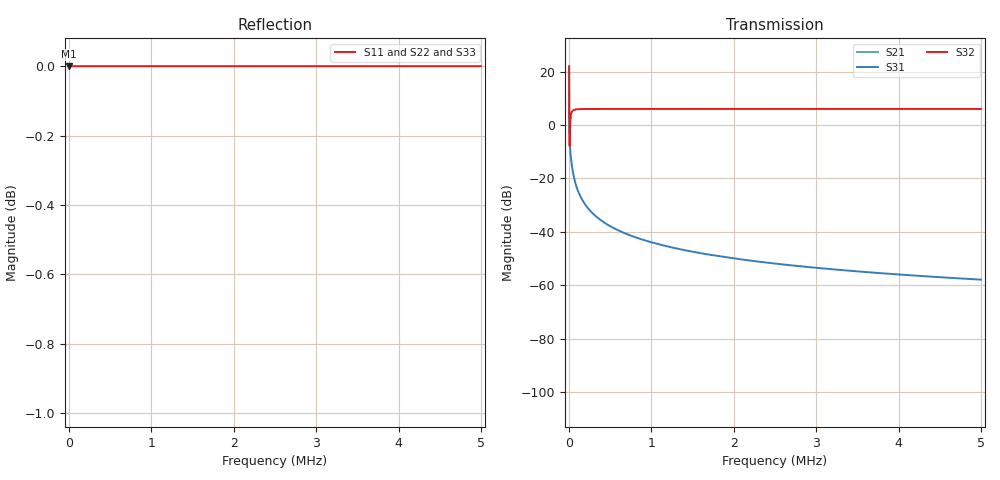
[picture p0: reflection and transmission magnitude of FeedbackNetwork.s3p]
# MHz MA S R 50.0
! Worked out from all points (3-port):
!   10000 points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, 500 Hz to 5 MHz, reference 50 ohm
!   strongest paths, dB at 500 Hz, 1.25 MHz, 2.501 MHz, 3.751 MHz, 5 MHz:
!     S32: 22.0, 6.0, 6.0, 6.0, 6.0
!     S31: 21.8, -45.9, -51.9, -55.4, -57.9
!     S21: -114.0, -, -, -, -
!   lowest |S11| = 0.0 dB at 500 Hz (marker M1)
!   |S11| at or under -10 dB: nowhere
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0.0005  1 0.0  0 0.0  0 0.0
        2e-06 -17.4  1 0.0  0 -0.0
        12.33 -94.9  12.64 93.7  1 -180.0
0.026  1 0.0  0 0.0  0 0.0
       0 -86.5  1 -0.0  0 0.0
       0.2187 -76.8  1.643 -158.4  1 180.0
0.029  1 0.0  0 0.0  0 0.0
       0 -86.9  1 0.0  0 0.0
       0.1999 -77.7  1.703 -160.1  1 180.0
0.0345  1 0.0  0 0.0  0 0.0
        0 -87.4  1 -0.0  0 0.0
        0.1723 -79.2  1.781 -162.7  1 180.0
0.0715  1 0.0  0 0.0  0 0.0
        0 -88.7  1 -0.0  0 -0.0
        0.08752 -84.4  1.945 -171.1  1 180.0
0.193  1 0.0  0 0.0  0 0.0
       0 -89.5  1 0.0  0 -0.0
       0.03291 -87.9  1.992 -176.7  1 180.0
0.576  1 0.0  0 0.0  0 0.0
       0 -89.8  1 -0.0  0 0.0
       0.01105 -89.3  1.999 -178.9  1 180.0
1.31  1 0.0  0 0.0  0 0.0
      0 -89.9  1 0.0  0 0.0
      0.004859 -89.7  2 -179.5  1 180.0
2.5005  1 0.0  0 0.0  0 0.0
        0 -90.0  1 -0.0  0 0.0
        0.002546 -89.8  2 -179.7  1 180.0
5  1 0.0  0 0.0  0 0.0
   0 -90.0  1 -0.0  0 0.0
   0.001273 -89.9  2 -179.9  1 180.0
